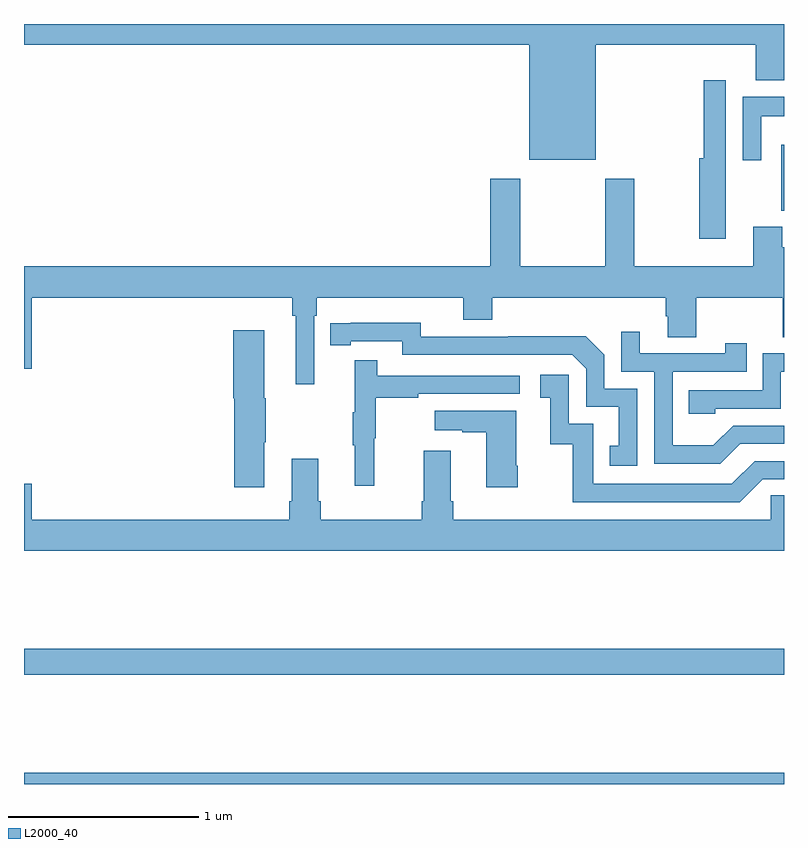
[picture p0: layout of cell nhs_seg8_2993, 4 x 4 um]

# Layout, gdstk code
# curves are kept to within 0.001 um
import gdstk
lib = gdstk.Library(unit=1e-6, precision=1e-09)
def R(c, l, rs):  # rectangles x0, y0, x1, y1
    for r in rs: c.add(gdstk.rectangle(r[:2], r[2:], *l))
def P(c, l, *ps):  # polygons
    for p in ps: c.add(gdstk.Polygon(p, *l))
L2000_40 = (2000, 40)

nhs_seg8_2993 = lib.new_cell('nhs_seg8_2993')
R(nhs_seg8_2993, L2000_40, [(297,1153.9,301,1153.96), (297,1154.476,301,1154.612), (300.986,1156.918,301,1157.265)])
P(nhs_seg8_2993, L2000_40, [(300.01,1157.792),(300.851,1157.792),(300.851,1157.603),(301,1157.603),(301,1157.9),(297,1157.9),(297,1157.792),(299.66,1157.792),(299.66,1157.186),(300.01,1157.186)],
  [(300.694,1157.09),(300.693,1157.09),(300.693,1157.605),(300.577,1157.605),(300.577,1157.194),(300.553,1157.194),(300.553,1156.77),(300.694,1156.77)],
  [(300.879,1157.414),(301,1157.414),(301,1157.518),(300.783,1157.518),(300.783,1157.184),(300.879,1157.184)],
  [(298.527,1156.364),(298.541,1156.364),(298.541,1156.46),(299.312,1156.46),(299.312,1156.343),(299.465,1156.343),(299.465,1156.46),(300.377,1156.46),(300.377,1156.362),(300.389,1156.362),(300.389,1156.252),(300.537,1156.252),(300.537,1156.46),(300.994,1156.46),(300.994,1156.252),(301,1156.252),(301,1156.724),(300.991,1156.724),(300.991,1156.833),(300.839,1156.833),(300.839,1156.624),(300.213,1156.624),(300.213,1157.086),(300.058,1157.086),(300.058,1156.624),(299.613,1156.624),(299.613,1157.086),(299.453,1157.086),(299.453,1156.624),(297,1156.624),(297,1156.086),(297.04,1156.086),(297.04,1156.46),(298.411,1156.46),(298.411,1156.364),(298.43,1156.364),(298.43,1156.005),(298.527,1156.005)],
  [(300.228,1155.981),(300.054,1155.981),(300.054,1156.158),(299.956,1156.256),(299.548,1156.256),(299.548,1156.254),(299.088,1156.254),(299.088,1156.327),(298.612,1156.326),(298.612,1156.21),(298.72,1156.21),(298.72,1156.23),(298.992,1156.23),(298.992,1156.158),(299.886,1156.158),(299.958,1156.086),(299.958,1155.885),(300.131,1155.885),(300.131,1155.681),(300.082,1155.681),(300.082,1155.576),(300.228,1155.576)],
  [(298.264,1155.7),(298.272,1155.7),(298.272,1155.93),(298.264,1155.93),(298.264,1156.288),(298.1,1156.288),(298.1,1155.93),(298.106,1155.93),(298.106,1155.462),(298.264,1155.462)],
  [(300.769,1155.69),(301,1155.69),(301,1155.786),(300.732,1155.786),(300.628,1155.682),(300.414,1155.682),(300.414,1156.071),(300.803,1156.071),(300.803,1156.219),(300.692,1156.219),(300.692,1156.167),(300.241,1156.167),(300.241,1156.279),(300.144,1156.279),(300.144,1156.071),(300.318,1156.071),(300.318,1155.585),(300.664,1155.585)],
  [(300.639,1155.876),(300.984,1155.876),(300.984,1156.071),(301,1156.071),(301,1156.167),(300.888,1156.167),(300.888,1155.972),(300.499,1155.972),(300.499,1155.849),(300.639,1155.849)],
  [(298.844,1155.72),(298.852,1155.72),(298.852,1155.934),(299.075,1155.934),(299.075,1155.954),(299.608,1155.954),(299.608,1156.05),(298.859,1156.05),(298.859,1156.129),(298.742,1156.129),(298.742,1155.857),(298.731,1155.857),(298.731,1155.683),(298.742,1155.683),(298.742,1155.471),(298.844,1155.471)],
  [(300.888,1155.504),(301,1155.504),(301,1155.6),(300.846,1155.6),(300.726,1155.48),(299.997,1155.48),(299.997,1155.795),(299.868,1155.795),(299.868,1156.054),(299.718,1156.054),(299.718,1155.933),(299.771,1155.933),(299.771,1155.687),(299.889,1155.687),(299.889,1155.384),(300.768,1155.384)],
  [(299.598,1155.574),(299.59,1155.574),(299.59,1155.865),(299.163,1155.865),(299.163,1155.761),(299.306,1155.761),(299.306,1155.751),(299.432,1155.751),(299.432,1155.462),(299.598,1155.462)],
  [(297,1155.481),(297,1155.128),(301,1155.128),(301,1155.419),(300.93,1155.419),(300.93,1155.292),(299.258,1155.292),(299.258,1155.388),(299.245,1155.388),(299.245,1155.655),(299.105,1155.655),(299.105,1155.388),(299.093,1155.388),(299.093,1155.292),(298.562,1155.292),(298.562,1155.388),(298.549,1155.388),(298.549,1155.613),(298.409,1155.613),(298.409,1155.388),(298.397,1155.388),(298.397,1155.292),(297.04,1155.292),(297.04,1155.481)])

lib.write_gds('nhs_seg8_2993.gds')
